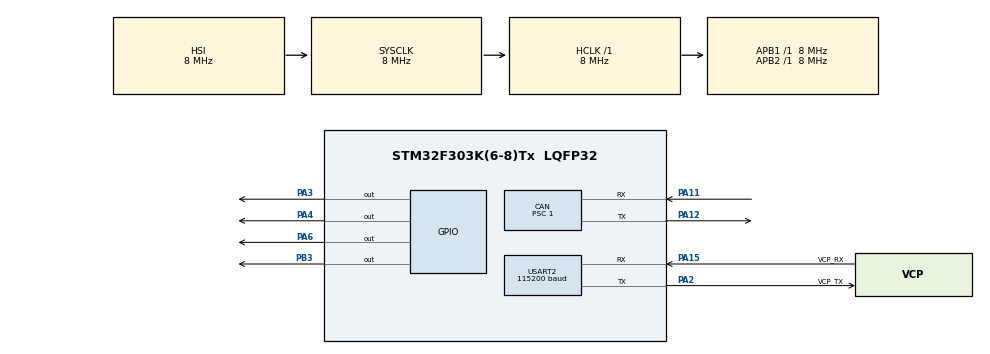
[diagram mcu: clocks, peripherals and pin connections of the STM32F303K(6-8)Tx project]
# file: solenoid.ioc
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CAN.BS1=CAN_BS1_5TQ
CAN.BS2=CAN_BS2_2TQ
CAN.CalculateBaudRate=1000000
CAN.CalculateTimeBit=1000
CAN.CalculateTimeQuantum=125.0
CAN.NART=ENABLE
CAN.Prescaler=1
Mcu.Family=STM32F3
Mcu.Name=STM32F303K(6-8)Tx
Mcu.Package=LQFP32
NVIC.CAN_RX0_IRQn=true\:0\:0\:false\:false\:true\:true\:true\:true
NVIC.PriorityGroup=NVIC_PRIORITYGROUP_4
NVIC.USART2_IRQn=true\:0\:0\:false\:false\:true\:true\:true\:true
PA11.Mode=CAN_Activate
PA11.Signal=CAN_RX
PA12.Mode=CAN_Activate
PA12.Signal=CAN_TX
PA13.GPIO_Label=SWDIO
PA13.Mode=Serial_Wire
PA13.Signal=SYS_JTMS-SWDIO
PA14.GPIO_Label=SWCLK
PA14.Mode=Serial_Wire
PA14.Signal=SYS_JTCK-SWCLK
PA15.GPIO_Label=VCP_RX
PA15.Mode=Asynchronous
PA15.Signal=USART2_RX
PA2.GPIO_Label=VCP_TX
PA2.Mode=Asynchronous
PA2.Signal=USART2_TX
PA3.GPIO_PuPd=GPIO_PULLUP
PA3.Signal=GPIO_Output
PA4.GPIO_PuPd=GPIO_PULLUP
PA4.Signal=GPIO_Output
PA6.GPIO_PuPd=GPIO_PULLUP
PA6.Signal=GPIO_Output
PB3.GPIO_PuPd=GPIO_PULLUP
PB3.Signal=GPIO_Output
PF0\ /\ OSC_IN.GPIO_Label=MCO
PF0\ /\ OSC_IN.Mode=HSE-External-Clock-Source
PF0\ /\ OSC_IN.Signal=RCC_OSC_IN
ProjectManager.HeapSize=0x200
ProjectManager.StackSize=0x400
ProjectManager.TargetToolchain=STM32CubeIDE
RCC.AHBFreq_Value=8000000
RCC.APB1Freq_Value=8000000
RCC.APB2Freq_Value=8000000
RCC.CortexFreq_Value=8000000
RCC.HSE_VALUE=8000000
RCC.HSI_VALUE=8000000
RCC.SYSCLKFreq_VALUE=8000000
USART2.BaudRate=115200
USART2.VirtualMode-Asynchronous=VM_ASYNC
board=NUCLEO-F303K8

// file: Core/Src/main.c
/* USER CODE BEGIN Header */
/**
 ******************************************************************************
 * @file           : main.c
 * @brief          : Main program body
 ******************************************************************************
 * @attention
 *
 * Copyright (c) 2026 STMicroelectronics.
 * All rights reserved.
 *
 * This software is licensed under terms that can be found in the LICENSE file
 * in the root directory of this software component.
 * If no LICENSE file comes with this software, it is provided AS-IS.
 *
 ******************************************************************************
 */
/* USER CODE END Header */
#include "main.h"

/* USER CODE BEGIN Includes */
#include <stdio.h>
/* USER CODE END Includes */

CAN_HandleTypeDef hcan;

UART_HandleTypeDef huart2;

/* USER CODE BEGIN PV */
uint8_t rxData[8];
uint32_t rxId;
uint32_t rxDlc;
uint32_t preTick[4] = { 0 };
int canRxFlag = 0;

int State[3] = { -1, -1, -1 }; //-1:格納 1:展開
int PinState[3] = { 0 };
int preData[3] = { 0 };
/* USER CODE END PV */

void SystemClock_Config(void);
static void MX_GPIO_Init(void);
static void MX_USART2_UART_Init(void);
static void MX_CAN_Init(void);

/* USER CODE BEGIN 0 */
void HAL_CAN_RxFifo0MsgPendingCallback(CAN_HandleTypeDef *hcan) {
	CAN_RxHeaderTypeDef RxHeader;
	uint8_t RxData[8];

	if (HAL_CAN_GetRxMessage(hcan, CAN_RX_FIFO0, &RxHeader, RxData) == HAL_OK) {
		rxId = (RxHeader.IDE == CAN_ID_STD) ? RxHeader.StdId : RxHeader.ExtId;
		rxDlc = RxHeader.DLC;
		for (int i = 0; i < 8; i++) {
			rxData[i] = RxData[i];

		}
		canRxFlag = 1;
	}
}

void Debug() {
	static char buff[64];
	int size = snprintf(buff, sizeof(buff), " %2d %2d %2d \n\r", PinState[0],
			PinState[1], PinState[2]);
	//int size = snprintf(buff, sizeof(buff), "%2d %2d %2d \n\r",rxData[0], rxData[1], rxData[2]);
	HAL_UART_Transmit_IT(&huart2, (uint8_t*) buff, size);
}
/* USER CODE END 0 */

int main(void) {

	/* MCU Configuration--------------------------------------------------------*/

	/* Reset of all peripherals, Initializes the Flash interface and the Systick. */
	HAL_Init();

	/* Configure the system clock */
	SystemClock_Config();

	/* Initialize all configured peripherals */
	MX_GPIO_Init();
	MX_USART2_UART_Init();
	MX_CAN_Init();
	/* USER CODE BEGIN 2 */

	HAL_CAN_Start(&hcan);
	HAL_CAN_ActivateNotification(&hcan, CAN_IT_RX_FIFO0_MSG_PENDING);
	HAL_GPIO_WritePin(GPIOB, GPIO_PIN_0, 0);
	HAL_GPIO_WritePin(GPIOB, GPIO_PIN_1, 0);
	HAL_GPIO_WritePin(GPIOB, GPIO_PIN_3, 0);
	/* USER CODE END 2 */

	/* Infinite loop */
	/* USER CODE BEGIN WHILE */
	while (1) {
		for (int i = 0; i < 2; i++) {
			if (HAL_GetTick() - preTick[i] > 2000) {
				if (rxData[i] == 1 && preData[i] == 0) {
					preTick[i] = HAL_GetTick();
					PinState[i] = 1;
				}
			}
			if (HAL_GetTick() - preTick[i] > 1000) {
				PinState[i] = 0;
			}
			preData[i] = rxData[i];
		}

		if(rxData[2] == 1){
			PinState[2] = 1;
		}else{
			PinState[2] = 0;
		}
		//HAL_UART_Transmit(&huart2,rxData,3,HAL_MAX_DELAY);
		if (HAL_GetTick() - preTick[3] > 1000) {
			preTick[3] = HAL_GetTick();
			//Debug();
		}
		HAL_GPIO_WritePin(GPIOA, GPIO_PIN_3, PinState[0]); //normal
		HAL_GPIO_WritePin(GPIOA, GPIO_PIN_4, PinState[1]); //L_super
		HAL_GPIO_WritePin(GPIOA, GPIO_PIN_6, PinState[2]); //R_super

		/* USER CODE END WHILE */

	}
}

void SystemClock_Config(void) {
	RCC_OscInitTypeDef RCC_OscInitStruct = { 0 };
	RCC_ClkInitTypeDef RCC_ClkInitStruct = { 0 };

	/** Initializes the RCC Oscillators according to the specified parameters
	 * in the RCC_OscInitTypeDef structure.
	 */
	RCC_OscInitStruct.OscillatorType = RCC_OSCILLATORTYPE_HSI;
	RCC_OscInitStruct.HSIState = RCC_HSI_ON;
	RCC_OscInitStruct.HSICalibrationValue = RCC_HSICALIBRATION_DEFAULT;
	RCC_OscInitStruct.PLL.PLLState = RCC_PLL_NONE;
	if (HAL_RCC_OscConfig(&RCC_OscInitStruct) != HAL_OK) {
		Error_Handler();
	}

	/** Initializes the CPU, AHB and APB buses clocks
	 */
	RCC_ClkInitStruct.ClockType = RCC_CLOCKTYPE_HCLK | RCC_CLOCKTYPE_SYSCLK
			| RCC_CLOCKTYPE_PCLK1 | RCC_CLOCKTYPE_PCLK2;
	RCC_ClkInitStruct.SYSCLKSource = RCC_SYSCLKSOURCE_HSI;
	RCC_ClkInitStruct.AHBCLKDivider = RCC_SYSCLK_DIV1;
	RCC_ClkInitStruct.APB1CLKDivider = RCC_HCLK_DIV1;
	RCC_ClkInitStruct.APB2CLKDivider = RCC_HCLK_DIV1;

	if (HAL_RCC_ClockConfig(&RCC_ClkInitStruct, FLASH_LATENCY_0) != HAL_OK) {
		Error_Handler();
	}
}

static void MX_CAN_Init(void) {

	hcan.Instance = CAN;
	hcan.Init.Prescaler = 1;
	hcan.Init.Mode = CAN_MODE_NORMAL;
	hcan.Init.SyncJumpWidth = CAN_SJW_1TQ;
	hcan.Init.TimeSeg1 = CAN_BS1_5TQ;
	hcan.Init.TimeSeg2 = CAN_BS2_2TQ;
	hcan.Init.TimeTriggeredMode = DISABLE;
	hcan.Init.AutoBusOff = DISABLE;
	hcan.Init.AutoWakeUp = DISABLE;
	hcan.Init.AutoRetransmission = ENABLE;
	hcan.Init.ReceiveFifoLocked = DISABLE;
	hcan.Init.TransmitFifoPriority = DISABLE;
	if (HAL_CAN_Init(&hcan) != HAL_OK) {
		Error_Handler();
	}
	/* USER CODE BEGIN CAN_Init 2 */
	CAN_FilterTypeDef filter;
	filter.FilterIdHigh = 0x400 << 5;               // フィルターID上位16bit
	filter.FilterIdLow = 0;                        // フィルターID下位16bit
	filter.FilterMaskIdHigh = 0x7FF << 5;               	// フィルターマスクID上位16bit
	filter.FilterMaskIdLow = 0;                        // フィルターマスクID下位16bit
	filter.FilterScale = CAN_FILTERSCALE_32BIT;    // 32ビットモード
	filter.FilterFIFOAssignment = CAN_FILTER_FIFO0;         // FIFO0へ格納
	filter.FilterBank = 0;
	filter.FilterMode = CAN_FILTERMODE_IDMASK;    // IDマスクモード
	filter.SlaveStartFilterBank = 14;
	filter.FilterActivation = ENABLE;

	HAL_CAN_ConfigFilter(&hcan, &filter);
	/* USER CODE END CAN_Init 2 */

}

static void MX_USART2_UART_Init(void) {

	huart2.Instance = USART2;
	huart2.Init.BaudRate = 115200;
	huart2.Init.WordLength = UART_WORDLENGTH_8B;
	huart2.Init.StopBits = UART_STOPBITS_1;
	huart2.Init.Parity = UART_PARITY_NONE;
	huart2.Init.Mode = UART_MODE_TX_RX;
	huart2.Init.HwFlowCtl = UART_HWCONTROL_NONE;
	huart2.Init.OverSampling = UART_OVERSAMPLING_16;
	huart2.Init.OneBitSampling = UART_ONE_BIT_SAMPLE_DISABLE;
	huart2.AdvancedInit.AdvFeatureInit = UART_ADVFEATURE_NO_INIT;
	if (HAL_UART_Init(&huart2) != HAL_OK) {
		Error_Handler();
	}

}

static void MX_GPIO_Init(void) {
	GPIO_InitTypeDef GPIO_InitStruct = { 0 };

	/* GPIO Ports Clock Enable */
	__HAL_RCC_GPIOF_CLK_ENABLE();
	__HAL_RCC_GPIOA_CLK_ENABLE();
	__HAL_RCC_GPIOB_CLK_ENABLE();

	/*Configure GPIO pin Output Level */
	HAL_GPIO_WritePin(GPIOA, GPIO_PIN_3 | GPIO_PIN_4 | GPIO_PIN_6,
			GPIO_PIN_RESET);

	/*Configure GPIO pin Output Level */
	HAL_GPIO_WritePin(GPIOB, GPIO_PIN_3, GPIO_PIN_RESET);

	/*Configure GPIO pins : PA3 PA4 PA6 */
	GPIO_InitStruct.Pin = GPIO_PIN_3 | GPIO_PIN_4 | GPIO_PIN_6;
	GPIO_InitStruct.Mode = GPIO_MODE_OUTPUT_PP;
	GPIO_InitStruct.Pull = GPIO_PULLUP;
	GPIO_InitStruct.Speed = GPIO_SPEED_FREQ_LOW;
	HAL_GPIO_Init(GPIOA, &GPIO_InitStruct);

	/*Configure GPIO pin : PB3 */
	GPIO_InitStruct.Pin = GPIO_PIN_3;
	GPIO_InitStruct.Mode = GPIO_MODE_OUTPUT_PP;
	GPIO_InitStruct.Pull = GPIO_PULLUP;
	GPIO_InitStruct.Speed = GPIO_SPEED_FREQ_LOW;
	HAL_GPIO_Init(GPIOB, &GPIO_InitStruct);

}

void Error_Handler(void) {
	__disable_irq();
	while (1) {
	}
}
